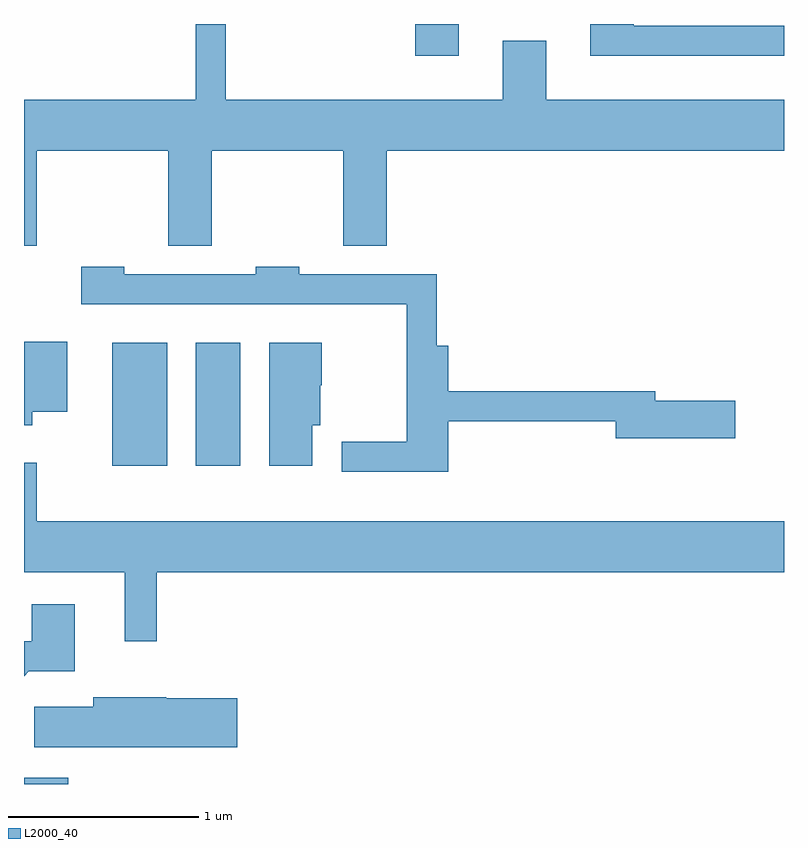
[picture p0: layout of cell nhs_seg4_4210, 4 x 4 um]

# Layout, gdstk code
import gdstk
lib = gdstk.Library(unit=1e-6, precision=1e-09)
def R(c, l, rs):  # rectangles x0, y0, x1, y1
    for r in rs: c.add(gdstk.rectangle(r[:2], r[2:], *l))
def P(c, l, *ps):  # polygons
    for p in ps: c.add(gdstk.Polygon(p, *l))
L2000_40 = (2000, 40)

nhs_seg4_4210 = lib.new_cell('nhs_seg4_4210')
R(nhs_seg4_4210, L2000_40, [(307.611,1377.982,307.844,1378.014), (308.076,1379.656,308.364,1380.304), (308.516,1379.656,308.749,1380.304), (309.671,1381.816,309.899,1381.982)])
P(nhs_seg4_4210, L2000_40, [(307.679,1381.316),(308.371,1381.316),(308.371,1380.816),(308.599,1380.816),(308.599,1381.316),(309.291,1381.316),(309.291,1380.816),(309.519,1380.816),(309.519,1381.316),(311.611,1381.316),(311.611,1381.584),(310.359,1381.584),(310.359,1381.894),(310.131,1381.894),(310.131,1381.584),(308.674,1381.584),(308.674,1381.982),(308.516,1381.982),(308.516,1381.584),(307.611,1381.584),(307.611,1380.816),(307.679,1380.816)],
  [(311.611,1381.974),(310.819,1381.974),(310.819,1381.982),(310.591,1381.982),(310.591,1381.816),(311.611,1381.816)],
  [(309.844,1379.891),(310.726,1379.891),(310.726,1379.801),(311.354,1379.801),(311.354,1379.999),(310.934,1379.999),(310.934,1380.049),(309.844,1380.049),(309.844,1380.289),(309.784,1380.289),(309.784,1380.664),(309.059,1380.664),(309.059,1380.704),(308.831,1380.704),(308.831,1380.664),(308.139,1380.664),(308.139,1380.704),(307.911,1380.704),(307.911,1380.506),(309.626,1380.506),(309.626,1379.784),(309.283,1379.784),(309.283,1379.626),(309.844,1379.626)],
  [(307.654,1379.941),(307.839,1379.941),(307.839,1380.309),(307.611,1380.309),(307.611,1379.871),(307.654,1379.871)],
  [(309.129,1379.871),(309.169,1379.871),(309.169,1380.08),(309.179,1380.08),(309.179,1380.304),(308.901,1380.304),(308.901,1379.656),(309.129,1379.656)],
  [(308.309,1379.096),(311.611,1379.096),(311.611,1379.364),(307.679,1379.364),(307.679,1379.674),(307.611,1379.674),(307.611,1379.096),(308.141,1379.096),(308.141,1378.733),(308.309,1378.733)],
  [(307.637,1378.576),(307.879,1378.576),(307.879,1378.929),(307.651,1378.929),(307.651,1378.734),(307.611,1378.734),(307.611,1378.55)],
  [(308.734,1378.434),(308.36,1378.434),(308.36,1378.439),(307.976,1378.439),(307.976,1378.389),(307.666,1378.389),(307.666,1378.176),(308.734,1378.176)])

lib.write_gds('nhs_seg4_4210.gds')
